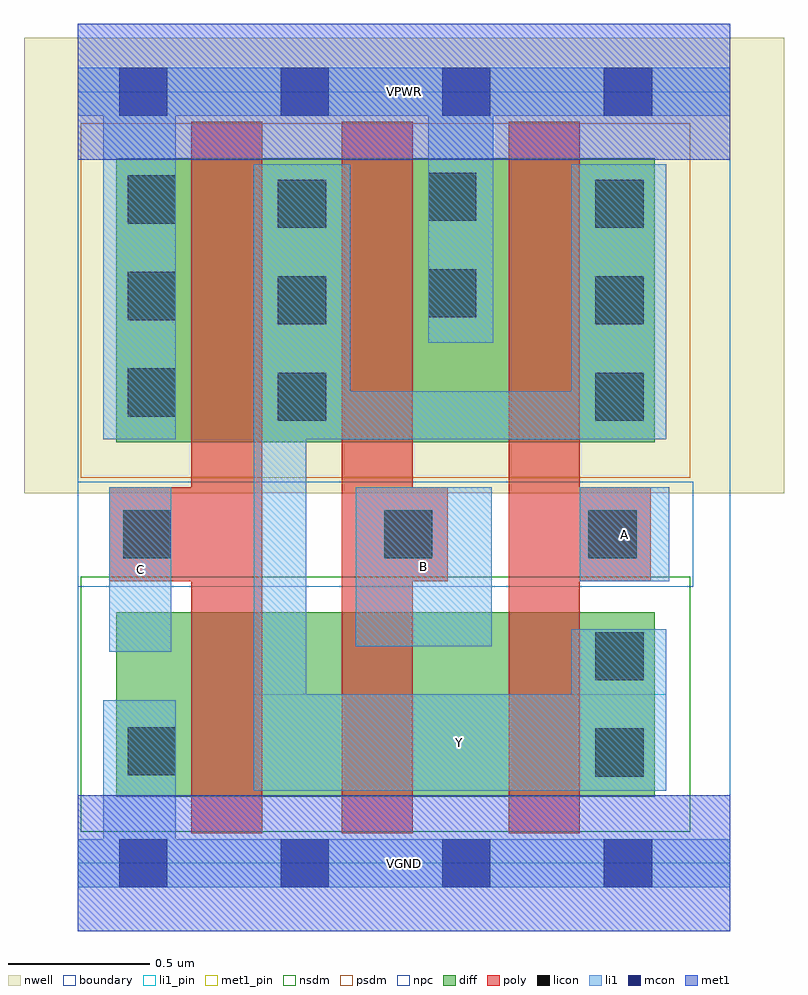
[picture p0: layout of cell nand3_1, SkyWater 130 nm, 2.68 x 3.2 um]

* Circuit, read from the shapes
.subckt nand3_1 A B C VGND VPWR Y
XM1 n1 C VGND VSUBS sky130_fd_pr__nfet_01v8 w=0.65 l=0.25
XM2 n2 B n1 VSUBS sky130_fd_pr__nfet_01v8 w=0.65 l=0.25
XM3 Y A n2 VSUBS sky130_fd_pr__nfet_01v8 w=0.65 l=0.25
XM4 Y C VPWR n3 sky130_fd_pr__pfet_01v8 w=1 l=0.25
XM5 VPWR B Y n3 sky130_fd_pr__pfet_01v8 w=1 l=0.25
XM6 Y A VPWR n3 sky130_fd_pr__pfet_01v8 w=1 l=0.25
.ends

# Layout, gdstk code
import gdstk
lib = gdstk.Library(unit=1e-6, precision=1e-09)
def R(c, l, rs):  # rectangles x0, y0, x1, y1
    for r in rs: c.add(gdstk.rectangle(r[:2], r[2:], *l))
def A(c, l, x, y, w, h, nx, ny, dx, dy):  # array of equal rectangles
    R(c, l, [(x+i*dx, y+j*dy, x+i*dx+w, y+j*dy+h) for i in range(nx) for j in range(ny)])
nwell = (64, 20)
diff = (65, 20)
poly = (66, 20)
licon = (66, 44)
li1_pin = (67, 16)
li1 = (67, 20)
mcon = (67, 44)
met1_pin = (68, 16)
met1 = (68, 20)
nsdm = (93, 44)
psdm = (94, 20)
npc = (95, 20)
boundary = (235, 4)

nand3_1 = lib.new_cell('nand3_1')
R(nand3_1, nwell, [(-0.19,1.305,2.49,2.91), (0,1.305,2.3,2.91)])
R(nand3_1, diff, [(0.135,0.235,2.035,0.885), (0.135,1.485,2.035,2.485)])
R(nand3_1, poly, [(0.4,0.105,0.65,2.615), (0.93,0.105,1.18,2.615), (1.52,0.105,1.77,2.615), (0.11,0.995,0.65,1.325), (0.93,0.995,1.305,1.325), (1.52,0.995,2.02,1.325)])
A(nand3_1, licon, 0.705, 1.56, 0.17, 0.17, 1, 3, 0, 0.34)
A(nand3_1, licon, 1.825, 1.56, 0.17, 0.17, 1, 3, 0, 0.34)
A(nand3_1, licon, 0.175, 1.575, 0.17, 0.17, 1, 3, 0, 0.34)
R(nand3_1, licon, [(1.825,0.305,1.995,0.475), (0.175,0.31,0.345,0.48), (1.825,0.645,1.995,0.815), (0.16,1.075,0.33,1.245), (1.08,1.075,1.25,1.245), (1.8,1.075,1.97,1.245), (1.235,1.925,1.405,2.095), (1.235,2.265,1.405,2.435)])
R(nand3_1, li1_pin, [(0.62,0.255,2.075,0.595), (0.11,0.745,0.33,1.325), (0.98,0.765,1.46,1.325), (1.77,0.995,2.085,1.325)])
R(nand3_1, li1, [(0,-0.085,2.3,0.085), (0.09,-0.085,0.345,0.575), (0.62,0.255,2.075,0.595), (0.62,0.255,0.805,2.465), (1.74,0.255,2.075,0.825), (0.11,0.745,0.33,1.325), (0.98,0.765,1.46,1.325), (1.77,0.995,2.085,1.325), (0.09,1.495,0.345,2.805), (0.62,1.495,0.96,2.465), (0.62,1.495,2.075,1.665), (1.74,1.495,2.075,2.465), (1.235,1.835,1.465,2.805), (0,2.635,2.3,2.805)])
A(nand3_1, mcon, 0.145, -0.085, 0.17, 0.17, 4, 2, 0.57, 2.72)
R(nand3_1, met1_pin, [(0,-0.24,2.3,0.24), (0,2.48,2.3,2.96)])
R(nand3_1, met1, [(0,-0.24,2.3,0.24), (0,2.48,2.3,2.96)])
R(nand3_1, nsdm, [(0.01,0.11,2.16,1.01)])
R(nand3_1, psdm, [(0.01,1.36,2.16,2.61)])
R(nand3_1, npc, [(0,0.975,2.17,1.345)])
R(nand3_1, boundary, [(0,0,2.3,2.72)])
nand3_1.add(gdstk.Label('A', (1.927,1.16), layer=67, texttype=5))
nand3_1.add(gdstk.Label('B', (1.22,1.045), layer=67, texttype=5))
nand3_1.add(gdstk.Label('C', (0.22,1.035), layer=67, texttype=5))
nand3_1.add(gdstk.Label('Y', (1.347,0.425), layer=67, texttype=5))
nand3_1.add(gdstk.Label('VPWR', (1.15,2.72), layer=68, texttype=5))
nand3_1.add(gdstk.Label('VGND', (1.15,0), layer=68, texttype=5))
nand3_1.add(gdstk.Label('A', (1.927,1.16), layer=67, texttype=16))
nand3_1.add(gdstk.Label('B', (1.22,1.045), layer=67, texttype=16))
nand3_1.add(gdstk.Label('C', (0.22,1.035), layer=67, texttype=16))
nand3_1.add(gdstk.Label('Y', (1.347,0.425), layer=67, texttype=16))
nand3_1.add(gdstk.Label('VPWR', (1.15,2.72), layer=68, texttype=16))
nand3_1.add(gdstk.Label('VGND', (1.15,0), layer=68, texttype=16))

lib.write_gds('nand3_1.gds')
